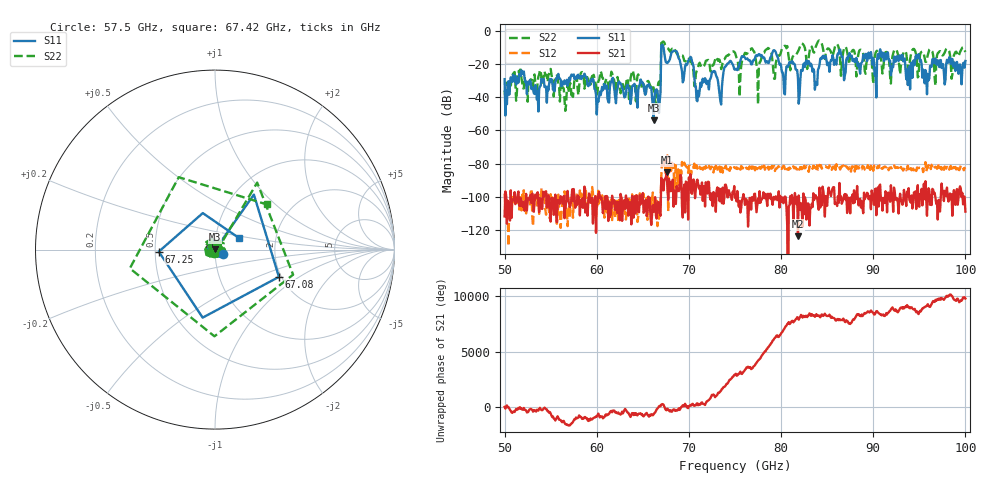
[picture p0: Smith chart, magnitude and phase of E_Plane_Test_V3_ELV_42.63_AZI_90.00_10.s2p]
! 11/26/2026 4:05:53 PM
! C:\ANRITSUVNA\TEMP\TEMP.S2P
! CHANNEL.1
! TR.MEASUREMENT
! RAW.DATA
# HZ S RI R 50.0
! FREQ.HZ  S11RE  S11IM  S21RE  S21IM  S12RE  S12IM  S22RE  S22IM
!; PortSelection: Port_12
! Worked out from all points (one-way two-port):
!   601 points, 50 GHz to 100 GHz, reference 50 ohm
!   highest |S21| = -85.22 dB at 67.58 GHz (marker M1); lowest = -124.0 dB at 81.83 GHz (marker M2)
!   lowest |S11| = -53.8 dB at 66.17 GHz (marker M3), VSWR 1.00, Z = 50.1 + j0.148 ohm
!   |S11| at or under -10 dB: start of sweep to 67 GHz; 67.25 GHz to end of sweep
!   |S22| runs from -48.1 to -5.6 dB; largest |S21 - S12| = 0.00019
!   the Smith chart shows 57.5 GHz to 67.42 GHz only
!   S11 on the Smith chart (normalised r, x): 57.5 GHz: 1.09, -0.05; 67.08 GHz: 1.94, -0.69; 67.25 GHz: 0.52, -0.01; 67.42 GHz: 1.29, +0.17
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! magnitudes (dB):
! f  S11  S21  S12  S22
! 50 GHz  -29.0  -112.0  -98.2  -35.8
! 51.67 GHz  -26.3  -105.7  -100.3  -23.3
! 53.42 GHz  -34.7  -100.6  -100.2  -35.4
! 57.5 GHz  -26.1  -95.5  -104.4  -34.7
! 58.42 GHz  -27.2  -101.1  -101.2  -24.7
! 60.17 GHz  -42.8  -99.3  -96.5  -30.4
! 66.17 GHz  -53.8  -109.3  -104.8  -34.0
! 66.67 GHz  -41.5  -103.3  -108.0  -31.7
! 67.08 GHz  -8.2  -96.1  -77.9  -6.8
! 67.25 GHz  -10.1  -96.2  -81.2  -6.3
! 67.42 GHz  -16.6  -89.5  -83.1  -8.3
! 67.58 GHz  -19.0  -85.2  -83.6  -9.6
! 70.25 GHz  -15.9  -97.8  -86.5  -18.8
! 70.92 GHz  -42.3  -89.7  -83.1  -23.0
! 75 GHz  -23.3  -100.7  -82.7  -13.0
! 79.25 GHz  -11.5  -101.2  -81.5  -28.8
! 81.83 GHz  -28.4  -124.0  -83.6  -12.3
! 83.42 GHz  -24.5  -106.3  -83.2  -10.8
! 91.67 GHz  -16.7  -97.7  -84.0  -15.2
! 94.83 GHz  -15.1  -93.1  -82.7  -27.9
! 95.83 GHz  -38.1  -111.6  -82.5  -16.5
! 100 GHz  -18.0  -109.1  -82.4  -12.6
